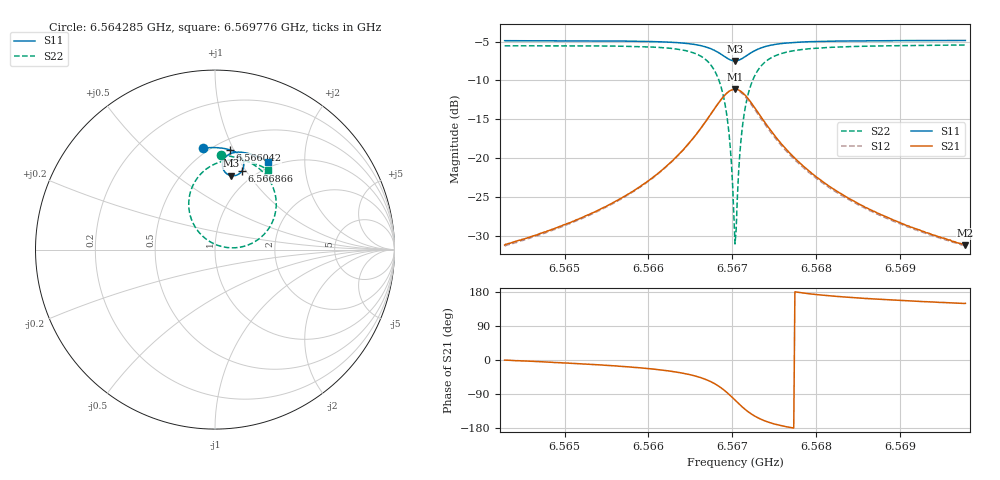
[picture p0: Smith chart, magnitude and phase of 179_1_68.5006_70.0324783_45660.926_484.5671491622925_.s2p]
#  HZ  S  RI  R  50.00
! Rohde & Schwarz Vector Network Analyzer
! Rohde-Schwarz,ZNB20-2Port,1311601062101988,3.16
! Created: UTC 3/20/2024, 4:56:37 PM
! freq[Hz]  re:S11  im:S11  re:S21  im:S21  re:S12  im:S12  re:S22  im:S22
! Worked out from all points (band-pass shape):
!   401 points, 6.564285 GHz to 6.569776 GHz, reference 50 ohm
!   highest |S21| = -11.13 dB at 6.567031 GHz (marker M1); lowest = -31.2 dB at 6.569776 GHz (marker M2)
!   |S21| within 3 dB of the highest: 6.566756 GHz to 6.567305 GHz (549.3 kHz wide, 0.00836 % of centre)
!   lowest |S11| = -7.5 dB at 6.567031 GHz (marker M3), VSWR 2.46, Z = 41 + j41.2 ohm
!   |S11| at or under -10 dB: nowhere
!   |S22| runs from -31.0 to -5.5 dB; largest |S21 - S12| = 0.013
!   S11 on the Smith chart (normalised r, x): 6.564285 GHz: 0.46, +0.77; 6.566042 GHz: 0.60, +0.97; 6.566866 GHz: 0.86, +0.96; 6.569776 GHz: 0.91, +1.33
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6.5642854e9  -0.0681 0.5651  0.0277 -0.000163  0.0272 -0.00065  0.0325 0.5263
6.5652051e9  0.0072 0.568  0.0408 -0.00739  0.04 -0.00788  0.1193 0.5134
6.5660425e9  0.0848 0.5553  0.0683 -0.03  0.0673 -0.0308  0.2268 0.4657
6.5661248e9  0.0935 0.5523  0.0728 -0.0349  0.0717 -0.0358  0.2408 0.4555
6.5664268e9  0.1282 0.5332  0.0938 -0.067  0.0923 -0.0685  0.2999 0.392
6.5666464e9  0.1534 0.5023  0.1075 -0.121  0.105 -0.1235  0.3389 0.2878
6.56677e9  0.1602 0.4714  0.1 -0.1751  0.0956 -0.1785  0.331 0.1843
6.5668661e9  0.1513 0.4402  0.0672 -0.2287  0.0597 -0.2316  0.2724 0.0841
6.5669484e9  0.1261 0.4171  0.00706 -0.2659  -0.00382 -0.266  0.1621 0.0184
6.5669759e9  0.1141 0.4128  -0.0192 -0.2716  -0.0308 -0.2698  0.1142 0.0102
6.5670171e9  0.0942 0.4114  -0.0614 -0.2704  -0.073 -0.2655  0.0393 0.0165
6.5670308e9  0.0877 0.4126  -0.0754 -0.2673  -0.0868 -0.2613  0.015 0.0237
6.5670445e9  0.0812 0.4144  -0.0888 -0.2626  -0.0999 -0.2557  -0.00834 0.0336
6.5670583e9  0.0751 0.4168  -0.1018 -0.2568  -0.1122 -0.2489  -0.0303 0.0455
6.5670994e9  0.059 0.4281  -0.1356 -0.2326  -0.1439 -0.2226  -0.0859 0.0925
6.5671406e9  0.048 0.4431  -0.1599 -0.2023  -0.1651 -0.1912  -0.1231 0.1488
6.5671955e9  0.0416 0.4646  -0.1766 -0.1598  -0.1786 -0.1488  -0.1448 0.2252
6.5672642e9  0.0437 0.4884  -0.179 -0.1129  -0.1782 -0.1035  -0.1405 0.3069
6.5675113e9  0.082 0.5326  -0.1357 -0.0251  -0.1327 -0.021  -0.0421 0.4536
6.5679505e9  0.1426 0.543  -0.079 0.00831  -0.0773 0.0096  0.0875 0.4994
6.5688703e9  0.2278 0.5219  -0.0383 0.0147  -0.0375 0.0151  0.2175 0.481
6.5697763e9  0.2944 0.4894  -0.0237 0.014  -0.0232 0.0143  0.2963 0.4442
